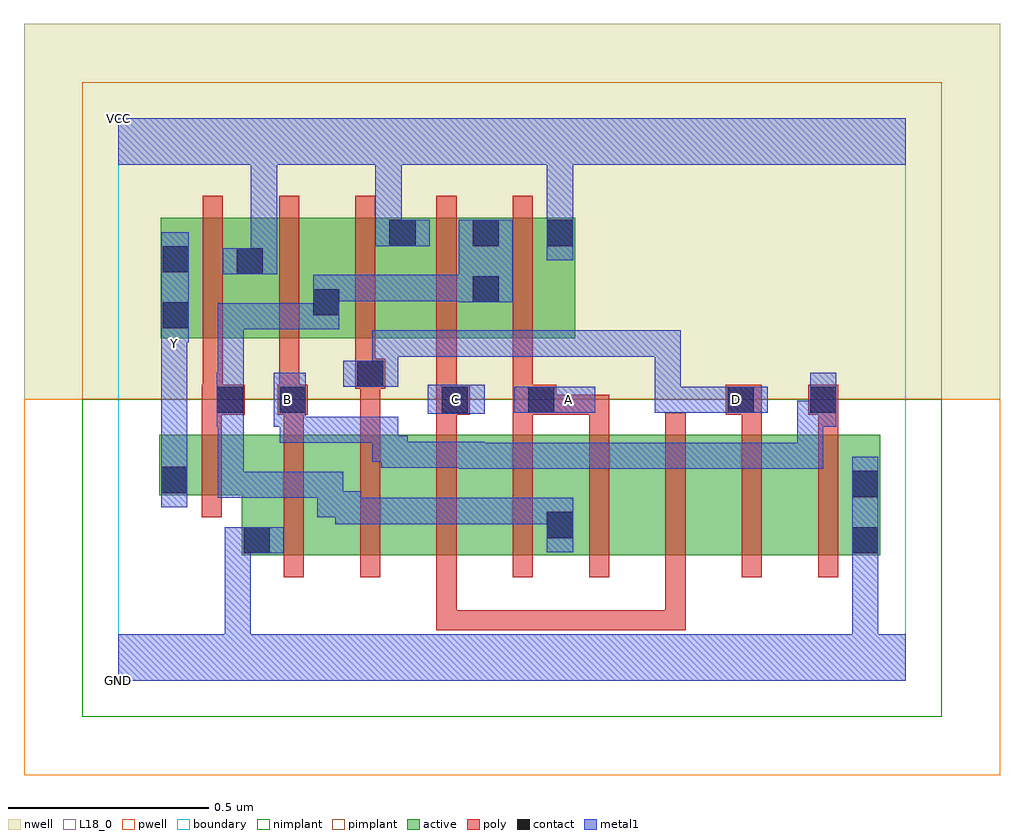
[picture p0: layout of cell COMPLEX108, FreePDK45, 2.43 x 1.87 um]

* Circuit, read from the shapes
.subckt COMPLEX108 A B C D GND VCC Y
M1 GND n1 Y VSUBS nfet w=0.15u l=0.05u
M2 n2 B GND VSUBS nfet w=0.3u l=0.05u
M3 n3 D n2 VSUBS nfet w=0.3u l=0.05u
M4 n4 C n3 VSUBS nfet w=0.3u l=0.05u
M5 n1 A n4 VSUBS nfet w=0.3u l=0.05u
M6 n5 A n1 VSUBS nfet w=0.3u l=0.05u
M7 n6 C n5 VSUBS nfet w=0.3u l=0.05u
M8 n7 D n6 VSUBS nfet w=0.3u l=0.05u
M9 GND B n7 VSUBS nfet w=0.3u l=0.05u
M10 VCC n1 Y n8 pfet w=0.3u l=0.05u
M11 n1 B VCC n8 pfet w=0.3u l=0.05u
M12 VCC D n1 n8 pfet w=0.3u l=0.05u
M13 n1 C VCC n8 pfet w=0.3u l=0.05u
M14 VCC A n1 n8 pfet w=0.3u l=0.05u
.ends

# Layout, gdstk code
import gdstk
lib = gdstk.Library(unit=1e-6, precision=1e-09)
def R(c, l, rs):  # rectangles x0, y0, x1, y1
    for r in rs: c.add(gdstk.rectangle(r[:2], r[2:], *l))
def A(c, l, x, y, w, h, nx, ny, dx, dy):  # array of equal rectangles
    R(c, l, [(x+i*dx, y+j*dy, x+i*dx+w, y+j*dy+h) for i in range(nx) for j in range(ny)])
active = (1, 0)
pwell = (2, 0)
nwell = (3, 0)
nimplant = (4, 0)
pimplant = (5, 0)
poly = (9, 0)
contact = (10, 0)
metal1 = (11, 0)
L18_0 = (18, 0)
boundary = (235, 0)

complex108 = lib.new_cell('COMPLEX108')
R(complex108, active, [(0.307,0.312,0.532,0.612), (0.307,0.312,0.382,0.582), (0.532,0.312,0.722,0.612), (0.722,0.312,0.912,0.612), (0.912,0.312,1.137,0.612), (1.062,0.312,1.292,0.612), (1.062,0.312,1.137,0.517), (1.292,0.312,1.482,0.612), (1.482,0.312,1.672,0.612), (1.672,0.312,1.897,0.612), (1.822,0.312,1.897,0.612), (0.102,0.462,0.382,0.612), (0.102,0.462,0.177,0.612), (0.105,0.852,0.18,1.152), (0.105,0.852,0.365,1.152), (0.29,0.852,0.555,1.152), (0.48,0.852,0.745,1.152), (0.48,0.852,0.555,1.055), (0.67,0.852,0.952,1.152), (0.877,0.852,0.952,1.152), (0.877,0.852,1.137,1.152), (0.29,1.007,0.365,1.152), (0.67,1.007,0.745,1.152), (1.062,1.007,1.137,1.152)])
R(complex108, pwell, [(-0.235,-0.235,2.195,0.7)])
R(complex108, nwell, [(-0.235,0.7,2.195,1.635)])
R(complex108, nimplant, [(-0.09,-0.09,2.05,0.7)])
R(complex108, pimplant, [(-0.09,0.7,2.05,1.49)])
A(complex108, poly, 0.412, 0.257, 0.05, 0.41, 8, 1, 0.19, 0)
A(complex108, poly, 0.792, 0.617, 0.05, 0.095, 3, 1, 0.19, 0)
A(complex108, poly, 0.21, 0.797, 0.05, 0.41, 3, 1, 0.19, 0)
R(complex108, poly, [(0.792,0.125,0.842,0.307), (0.792,0.125,0.842,0.175), (0.792,0.125,0.842,0.175), (0.792,0.125,0.842,0.175), (0.792,0.125,1.09,0.175), (1.04,0.125,1.09,0.175), (1.04,0.125,1.09,0.175), (1.04,0.125,1.09,0.175), (1.04,0.125,1.222,0.175), (1.172,0.125,1.412,0.175), (1.172,0.125,1.222,0.175), (1.172,0.125,1.222,0.175), (1.172,0.125,1.222,0.175), (1.362,0.125,1.412,0.307), (1.362,0.125,1.412,0.175), (0.207,0.407,0.257,0.667), (0.207,0.617,0.257,0.712), (0.412,0.617,0.462,0.712), (0.602,0.617,0.652,0.777), (1.552,0.617,1.602,0.712), (1.742,0.617,1.792,0.712), (0.207,0.662,0.315,0.737), (0.397,0.662,0.472,0.737), (0.792,0.662,0.875,0.737), (0.982,0.662,1.09,0.737), (1.04,0.662,1.09,0.712), (1.04,0.662,1.09,0.712), (1.04,0.662,1.222,0.712), (1.172,0.662,1.222,0.712), (1.512,0.662,1.602,0.737), (1.717,0.662,1.792,0.737), (0.21,0.687,0.26,0.847), (0.4,0.687,0.45,0.847), (0.792,0.687,0.842,0.847), (0.982,0.687,1.032,0.847), (0.59,0.727,0.665,0.802), (0.59,0.752,0.64,0.847), (0.792,0.797,0.842,1.207), (0.982,0.797,1.032,1.207)])
R(complex108, contact, [(0.312,0.317,0.377,0.382), (1.827,0.317,1.892,0.382), (1.067,0.355,1.132,0.42), (1.827,0.457,1.892,0.522), (0.107,0.467,0.172,0.532), (0.245,0.667,0.31,0.732), (0.402,0.667,0.467,0.732), (0.805,0.667,0.87,0.732), (1.02,0.667,1.085,0.732), (1.517,0.667,1.582,0.732), (1.722,0.667,1.787,0.732), (0.595,0.732,0.66,0.797), (0.11,0.877,0.175,0.942), (0.485,0.91,0.55,0.975), (0.882,0.942,0.947,1.007), (0.295,1.012,0.36,1.077), (0.11,1.017,0.175,1.082), (0.675,1.082,0.74,1.147), (0.882,1.082,0.947,1.147), (1.067,1.082,1.132,1.147)])
R(complex108, metal1, [(0,0,1.96,0.115), (0.265,0.05,0.33,0.115), (0.265,0.05,0.33,0.115), (0.265,0.05,0.33,0.115), (0.265,0.05,0.33,0.115), (0.265,0.05,0.33,0.382), (1.827,0.05,1.892,0.347), (1.827,0.05,1.892,0.115), (1.827,0.05,1.892,0.115), (1.827,0.05,1.892,0.115), (1.827,0.05,1.892,0.115), (1.827,0.282,1.892,0.557), (0.265,0.317,0.412,0.382), (1.067,0.32,1.132,0.455), (0.54,0.39,0.775,0.455), (0.54,0.39,0.605,0.472), (0.71,0.39,0.775,0.455), (0.71,0.39,0.912,0.455), (0.847,0.39,0.912,0.455), (0.847,0.39,0.912,0.455), (0.847,0.39,0.912,0.455), (0.847,0.39,1.05,0.455), (0.985,0.39,1.05,0.455), (0.985,0.39,1.132,0.455), (0.495,0.407,0.605,0.472), (0.495,0.407,0.56,0.52), (0.107,0.432,0.172,0.567), (0.247,0.455,0.312,0.52), (0.247,0.455,0.312,0.52), (0.247,0.455,0.312,0.52), (0.247,0.455,0.467,0.52), (0.247,0.455,0.312,0.697), (0.402,0.455,0.467,0.52), (0.402,0.455,0.56,0.52), (0.107,0.502,0.172,0.837), (0.847,0.527,0.912,0.592), (0.847,0.527,0.912,0.592), (0.847,0.527,1.05,0.592), (0.847,0.527,0.912,0.595), (0.985,0.527,1.05,0.592), (0.985,0.527,1.05,0.592), (0.985,0.527,1.05,0.592), (0.985,0.527,1.257,0.592), (1.192,0.527,1.257,0.592), (1.192,0.527,1.4,0.592), (1.335,0.527,1.4,0.592), (1.335,0.527,1.4,0.592), (1.335,0.527,1.4,0.592), (1.335,0.527,1.617,0.592), (1.552,0.527,1.617,0.592), (1.552,0.527,1.617,0.592), (1.552,0.527,1.617,0.592), (1.552,0.527,1.755,0.592), (1.69,0.527,1.755,0.592), (1.69,0.527,1.755,0.697), (0.655,0.53,0.912,0.595), (0.655,0.53,0.72,0.61), (0.632,0.545,0.72,0.61), (0.632,0.545,0.697,0.657), (0.402,0.592,0.467,0.657), (0.402,0.592,0.697,0.657), (0.402,0.592,0.467,0.697), (0.245,0.632,0.31,0.697), (0.245,0.632,0.31,0.767), (0.245,0.632,0.312,0.697), (0.247,0.632,0.312,0.94), (0.387,0.632,0.467,0.767), (0.402,0.632,0.467,0.697), (0.402,0.632,0.467,0.697), (1.69,0.632,1.755,0.697), (1.69,0.632,1.787,0.697), (1.722,0.632,1.787,0.767), (0.77,0.665,0.912,0.737), (0.985,0.667,1.187,0.732), (1.335,0.667,1.4,0.732), (1.335,0.667,1.4,0.732), (1.335,0.667,1.4,0.732), (1.335,0.667,1.537,0.732), (1.335,0.667,1.4,0.872), (1.472,0.667,1.537,0.732), (1.472,0.667,1.537,0.732), (1.472,0.667,1.617,0.732), (0.56,0.732,0.695,0.797), (0.63,0.732,0.697,0.797), (0.632,0.732,0.697,0.797), (0.632,0.732,0.697,0.872), (0.107,0.772,0.172,0.907), (0.632,0.807,0.697,0.872), (0.632,0.807,0.912,0.872), (0.847,0.807,0.912,0.872), (0.847,0.807,0.912,0.872), (0.847,0.807,0.912,0.872), (0.847,0.807,1.12,0.872), (1.055,0.807,1.12,0.872), (1.055,0.807,1.12,0.872), (1.055,0.807,1.12,0.872), (1.055,0.807,1.257,0.872), (1.192,0.807,1.257,0.872), (1.192,0.807,1.4,0.872), (1.335,0.807,1.4,0.872), (0.107,0.842,0.172,0.907), (0.107,0.842,0.175,1.117), (0.247,0.875,0.312,0.94), (0.247,0.875,0.467,0.94), (0.402,0.875,0.467,0.94), (0.402,0.875,0.55,0.94), (0.485,0.875,0.55,1.01), (0.847,0.942,0.982,1.147), (0.485,0.945,0.55,1.01), (0.485,0.945,0.55,1.01), (0.485,0.945,0.697,1.01), (0.632,0.945,0.697,1.01), (0.632,0.945,0.697,1.01), (0.632,0.945,0.697,1.01), (0.632,0.945,0.912,1.01), (0.847,0.945,0.912,1.01), (0.847,0.945,0.912,1.01), (0.26,1.012,0.395,1.077), (0.33,1.012,0.395,1.35), (1.067,1.047,1.132,1.182), (0.64,1.082,0.705,1.147), (0.64,1.082,0.705,1.147), (0.64,1.082,0.705,1.35), (0.64,1.082,0.775,1.147), (1.067,1.117,1.132,1.182), (1.067,1.117,1.132,1.182), (1.067,1.117,1.132,1.35), (0,1.285,1.96,1.4), (0.33,1.285,0.395,1.35), (0.33,1.285,0.395,1.35)])
R(complex108, L18_0, [(0,0,1.96,0.115), (0.265,0.05,0.33,0.115), (0.265,0.05,0.33,0.115), (0.265,0.05,0.33,0.115), (0.265,0.05,0.33,0.115), (0.265,0.05,0.33,0.382), (1.827,0.05,1.892,0.115), (1.827,0.05,1.892,0.115), (1.827,0.05,1.892,0.115), (1.827,0.05,1.892,0.115), (1.827,0.05,1.892,0.347), (1.827,0.282,1.892,0.557), (0.265,0.317,0.412,0.382), (0.107,0.432,0.172,0.567), (0.107,0.502,0.172,0.837), (0.847,0.527,0.912,0.592), (0.847,0.527,0.912,0.592), (0.847,0.527,0.912,0.595), (0.847,0.527,1.05,0.592), (0.985,0.527,1.05,0.592), (0.985,0.527,1.05,0.592), (0.985,0.527,1.05,0.592), (0.985,0.527,1.257,0.592), (1.192,0.527,1.257,0.592), (1.192,0.527,1.4,0.592), (1.335,0.527,1.4,0.592), (1.335,0.527,1.4,0.592), (1.335,0.527,1.4,0.592), (1.335,0.527,1.617,0.592), (1.552,0.527,1.617,0.592), (1.552,0.527,1.617,0.592), (1.552,0.527,1.617,0.592), (1.552,0.527,1.755,0.592), (1.69,0.527,1.755,0.592), (1.69,0.527,1.755,0.697), (0.655,0.53,0.72,0.61), (0.655,0.53,0.912,0.595), (0.632,0.545,0.697,0.657), (0.632,0.545,0.72,0.61), (0.402,0.592,0.467,0.657), (0.402,0.592,0.467,0.697), (0.402,0.592,0.697,0.657), (0.387,0.632,0.467,0.767), (0.402,0.632,0.467,0.697), (0.402,0.632,0.467,0.697), (1.69,0.632,1.755,0.697), (1.69,0.632,1.787,0.697), (1.722,0.632,1.787,0.767), (0.77,0.665,0.912,0.737), (0.387,0.667,0.452,0.732), (0.807,0.667,0.872,0.732), (0.985,0.667,1.187,0.732), (1.087,0.667,1.152,0.732), (1.335,0.667,1.4,0.732), (1.335,0.667,1.4,0.732), (1.335,0.667,1.4,0.732), (1.335,0.667,1.537,0.732), (1.335,0.667,1.4,0.872), (1.472,0.667,1.537,0.732), (1.472,0.667,1.537,0.732), (1.472,0.667,1.617,0.732), (1.507,0.667,1.572,0.732), (0.56,0.732,0.695,0.797), (0.63,0.732,0.697,0.797), (0.632,0.732,0.697,0.797), (0.632,0.732,0.697,0.872), (0.107,0.772,0.172,0.907), (0.107,0.807,0.172,0.872), (0.632,0.807,0.697,0.872), (0.632,0.807,0.912,0.872), (0.847,0.807,0.912,0.872), (0.847,0.807,0.912,0.872), (0.847,0.807,0.912,0.872), (0.847,0.807,1.12,0.872), (1.055,0.807,1.12,0.872), (1.055,0.807,1.12,0.872), (1.055,0.807,1.12,0.872), (1.055,0.807,1.257,0.872), (1.192,0.807,1.257,0.872), (1.192,0.807,1.4,0.872), (1.335,0.807,1.4,0.872), (0.107,0.842,0.175,1.117), (0.107,0.842,0.172,0.907), (0.26,1.012,0.395,1.077), (0.33,1.012,0.395,1.35), (1.067,1.047,1.132,1.182), (0.64,1.082,0.705,1.147), (0.64,1.082,0.705,1.147), (0.64,1.082,0.775,1.147), (0.64,1.082,0.705,1.35), (1.067,1.117,1.132,1.182), (1.067,1.117,1.132,1.182), (1.067,1.117,1.132,1.35), (0,1.285,1.96,1.4), (0.33,1.285,0.395,1.35), (0.33,1.285,0.395,1.35)])
R(complex108, boundary, [(0,0,1.96,1.4)])
complex108.add(gdstk.Label('A', (1.12,0.7), layer=11, texttype=0))
complex108.add(gdstk.Label('B', (0.42,0.7), layer=11, texttype=0))
complex108.add(gdstk.Label('C', (0.84,0.7), layer=11, texttype=0))
complex108.add(gdstk.Label('D', (1.54,0.7), layer=11, texttype=0))
complex108.add(gdstk.Label('Y', (0.14,0.84), layer=11, texttype=0))
complex108.add(gdstk.Label('VCC', (0,1.4), layer=11, texttype=0))
complex108.add(gdstk.Label('GND', (0,0), layer=11, texttype=0))

lib.write_gds('COMPLEX108.gds')
